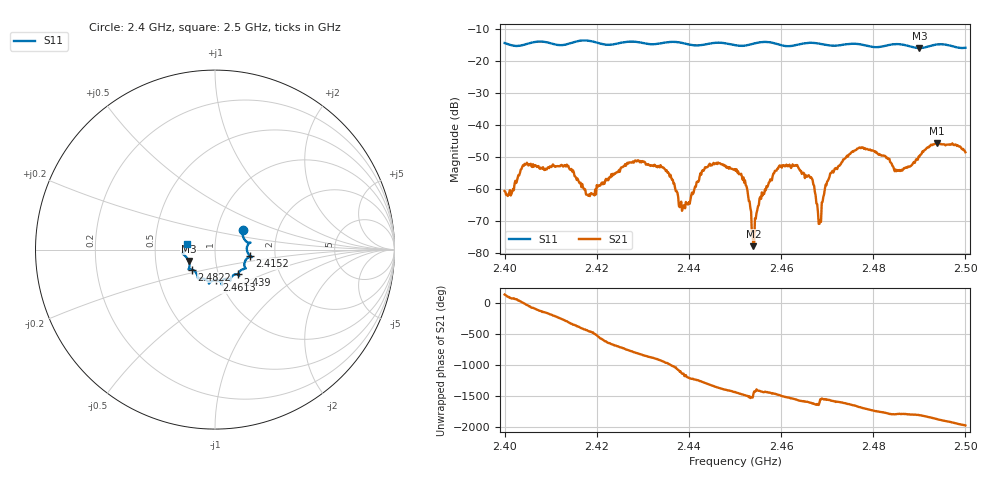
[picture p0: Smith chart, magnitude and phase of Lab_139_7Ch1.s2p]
# Hz S RI R 50
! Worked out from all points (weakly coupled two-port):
!   601 points, 2.4 GHz to 2.5 GHz, reference 50 ohm
!   highest |S21| = -45.58 dB at 2.4938 GHz (marker M1); lowest = -77.8 dB at 2.454 GHz (marker M2)
!   lowest |S11| = -15.9 dB at 2.49 GHz (marker M3), VSWR 1.38, Z = 36.9 - j4.81 ohm
!   |S11| at or under -10 dB: start of sweep to end of sweep
!   S12 and S22 are empty: the file has one direction only
!   S11 on the Smith chart (normalised r, x): 2.4 GHz: 1.33, +0.31; 2.4152 GHz: 1.48, -0.11; 2.439 GHz: 1.24, -0.36; 2.4613 GHz: 0.96, -0.34; 2.4822 GHz: 0.76, -0.17; 2.5 GHz: 0.73, +0.05
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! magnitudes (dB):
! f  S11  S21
! 2.4 GHz  -14.4  -60.6
! 2.4045 GHz  -14.8  -52.3
! 2.4152 GHz  -14.1  -55.9
! 2.4167 GHz  -13.6  -59.4
! 2.4333 GHz  -14.6  -52.8
! 2.439 GHz  -14.5  -65.0
! 2.444 GHz  -14.7  -53.2
! 2.45 GHz  -15.0  -53.8
! 2.4523 GHz  -15.1  -58.8
! 2.454 GHz  -14.6  -77.8
! 2.4558 GHz  -14.1  -61.0
! 2.4613 GHz  -15.4  -52.9
! 2.4667 GHz  -14.3  -56.7
! 2.4683 GHz  -14.6  -70.9
! 2.4705 GHz  -15.1  -56.2
! 2.4738 GHz  -14.8  -50.5
! 2.4822 GHz  -15.4  -49.5
! 2.4833 GHz  -15.0  -50.5
! 2.4855 GHz  -14.7  -54.3
! 2.49 GHz  -15.9  -49.9
! 2.4938 GHz  -14.8  -45.6
! 2.5 GHz  -15.8  -48.5
